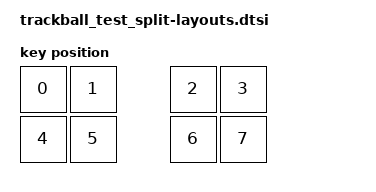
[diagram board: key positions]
#include <physical_layouts.dtsi>

/ {
    trackball_test_split_physical_layout: trackball_test_split_physical_layout {
        compatible = "zmk,physical-layout";
        display-name = "Split test 2x2 + 2x2";

        kscan = <&kscan0>;
        transform = <&default_transform>;

        keys  //                     w   h    x    y     rot    rx    ry
            = <&key_physical_attrs 100 100    0    0       0     0     0>
            , <&key_physical_attrs 100 100  100    0       0     0     0>
            , <&key_physical_attrs 100 100  300    0       0     0     0>
            , <&key_physical_attrs 100 100  400    0       0     0     0>
            , <&key_physical_attrs 100 100    0  100       0     0     0>
            , <&key_physical_attrs 100 100  100  100       0     0     0>
            , <&key_physical_attrs 100 100  300  100       0     0     0>
            , <&key_physical_attrs 100 100  400  100       0     0     0>
            ;
    };
};
